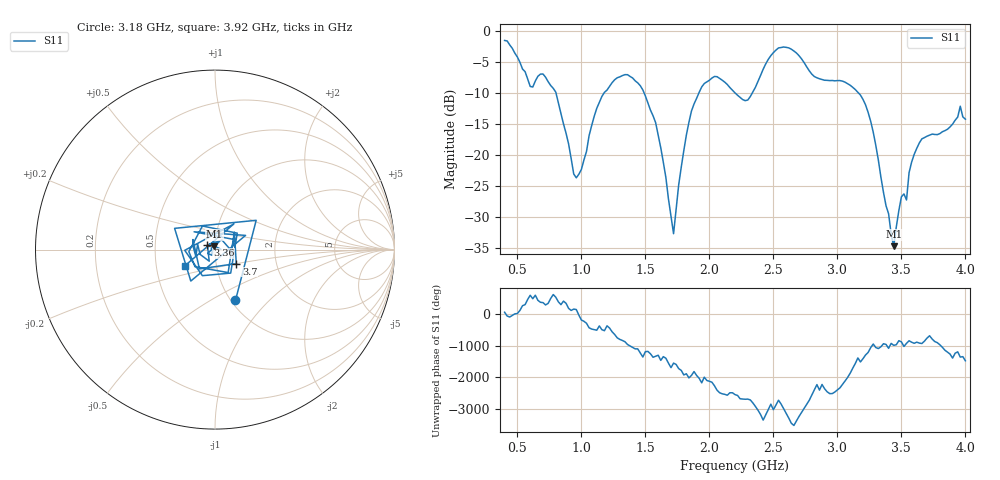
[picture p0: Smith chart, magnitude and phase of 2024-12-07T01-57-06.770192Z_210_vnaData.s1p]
!Created with skrf (http://scikit-rf.org).
# Hz S RI R 50.0
!freq ReS11 ImS11
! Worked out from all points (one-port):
!   181 points, 400 MHz to 4 GHz, reference 50 ohm
!   lowest |S11| = -34.7 dB at 3.44 GHz (marker M1), VSWR 1.04, Z = 49.7 + j1.8 ohm
!   |S11| at or under -10 dB: 801.8 MHz to 1.176 GHz (374.3 MHz wide, 37.8 % of centre); 1.491 GHz to 1.917 GHz (426.7 MHz wide, 25 % of centre); 3.166 GHz to end of sweep (the widest 3 of 4)
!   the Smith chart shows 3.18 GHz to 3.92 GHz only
!   S11 on the Smith chart (normalised r, x): 3.18 GHz: 1.05, -0.65; 3.36 GHz: 0.92, +0.05; 3.7 GHz: 1.25, -0.20; 3.92 GHz: 0.70, -0.13
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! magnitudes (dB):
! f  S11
! 400 MHz  -1.5
! 600 MHz  -8.9
! 720 MHz  -7.4
! 860 MHz  -15.0
! 960 MHz  -23.7
! 1.14 GHz  -11.5
! 1.3 GHz  -7.4
! 1.46 GHz  -8.8
! 1.58 GHz  -14.8
! 1.72 GHz  -32.7
! 1.76 GHz  -24.8
! 1.86 GHz  -12.9
! 1.94 GHz  -9.0
! 2.2 GHz  -10.0
! 2.3 GHz  -11.1
! 2.5 GHz  -3.4
! 2.66 GHz  -3.2
! 3.1 GHz  -8.7
! 3.18 GHz  -10.3
! 3.26 GHz  -14.5
! 3.36 GHz  -26.0
! 3.44 GHz  -34.7
! 3.5 GHz  -26.8
! 3.54 GHz  -27.3
! 3.56 GHz  -22.8
! 3.7 GHz  -17.0
! 3.92 GHz  -14.4
! 4 GHz  -14.2
